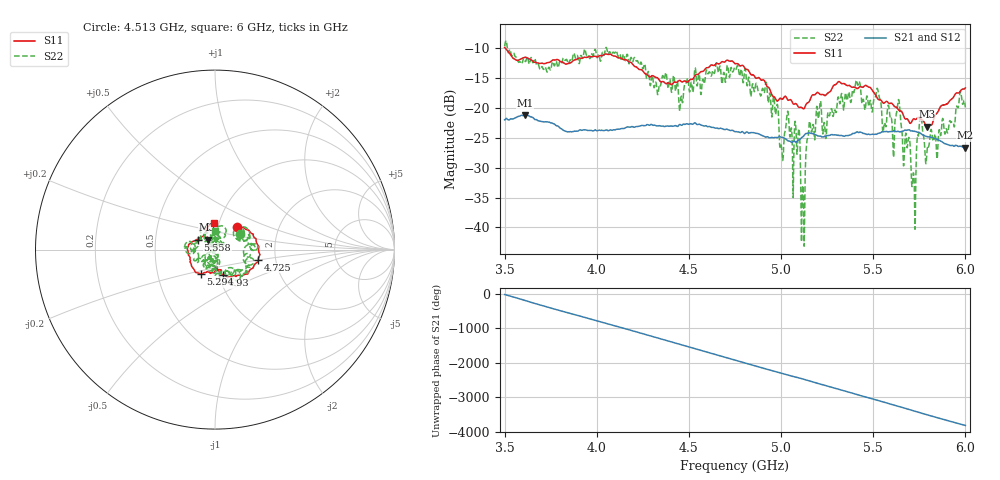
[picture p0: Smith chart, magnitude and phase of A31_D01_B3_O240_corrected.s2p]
! Created with skrf 1.9.0 (http://scikit-rf.org).
# Hz S RI R 50.0
!freq ReS11 ImS11 ReS21 ImS21 ReS12 ImS12 ReS22 ImS22
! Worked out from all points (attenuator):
!   1601 points, 3.5 GHz to 6 GHz, reference 50 ohm
!   highest |S21| = -21.18 dB at 3.611 GHz (marker M1); lowest = -26.6 dB at 6 GHz (marker M2)
!   lowest |S11| = -23.1 dB at 5.791 GHz (marker M3), VSWR 1.15, Z = 45.7 + j5.15 ohm
!   |S11| at or under -10 dB: 3.505 GHz to end of sweep
!   |S22| runs from -43.1 to -8.7 dB; largest |S21 - S12| = 0.0012
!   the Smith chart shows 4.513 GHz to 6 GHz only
!   S11 on the Smith chart (normalised r, x): 4.513 GHz: 1.23, +0.32; 4.725 GHz: 1.62, -0.19; 4.93 GHz: 1.04, -0.31; 5.294 GHz: 0.82, -0.23; 5.558 GHz: 0.82, +0.09; 6 GHz: 0.94, +0.28
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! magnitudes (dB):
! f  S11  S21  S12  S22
! 3.5 GHz  -9.9  -22.0  -22.0  -9.6
! 3.611 GHz  -11.5  -21.2  -21.2  -12.1
! 3.917 GHz  -11.7  -23.7  -23.7  -11.3
! 4.334 GHz  -15.1  -23.0  -22.9  -17.2
! 4.513 GHz  -15.2  -22.7  -22.6  -15.7
! 4.725 GHz  -12.2  -23.8  -23.7  -13.9
! 4.75 GHz  -12.6  -24.0  -23.9  -13.2
! 4.93 GHz  -16.5  -24.8  -24.8  -19.1
! 5.003 GHz  -18.5  -24.9  -24.9  -26.9
! 5.088 GHz  -19.5  -25.5  -25.6  -27.6
! 5.119 GHz  -20.1  -24.8  -24.7  -33.0
! 5.145 GHz  -19.1  -24.2  -24.2  -24.9
! 5.167 GHz  -17.9  -24.3  -24.2  -23.9
! 5.294 GHz  -16.1  -24.5  -24.5  -20.5
! 5.417 GHz  -16.7  -24.1  -24.1  -16.2
! 5.558 GHz  -19.2  -24.0  -23.9  -23.1
! 5.584 GHz  -19.2  -24.0  -24.0  -19.7
! 5.641 GHz  -20.4  -24.0  -23.9  -18.9
! 5.719 GHz  -21.8  -23.9  -23.9  -30.9
! 5.752 GHz  -21.7  -24.1  -24.1  -22.2
! 5.791 GHz  -23.1  -24.8  -24.7  -27.6
! 6 GHz  -16.6  -26.6  -26.6  -19.9
